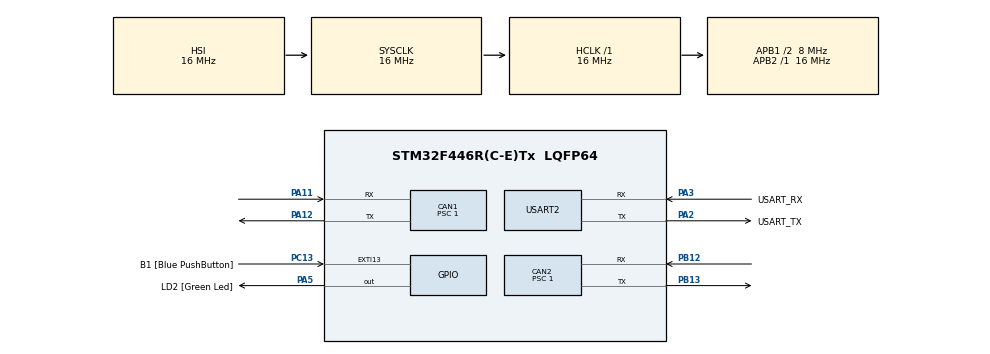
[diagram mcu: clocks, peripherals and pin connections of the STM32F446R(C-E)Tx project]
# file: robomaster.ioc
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CAN1.BS1=CAN_BS1_5TQ
CAN1.BS2=CAN_BS2_2TQ
CAN1.CalculateBaudRate=1000000
CAN1.CalculateTimeBit=1000
CAN1.CalculateTimeQuantum=125.0
CAN1.Prescaler=1
CAN1.TTCM=DISABLE
CAN2.BS1=CAN_BS1_5TQ
CAN2.BS2=CAN_BS2_2TQ
CAN2.CalculateBaudRate=1000000
CAN2.CalculateTimeBit=1000
CAN2.CalculateTimeQuantum=125.0
CAN2.Prescaler=1
Mcu.Family=STM32F4
Mcu.Name=STM32F446R(C-E)Tx
Mcu.Package=LQFP64
NVIC.CAN1_RX0_IRQn=true\:0\:0\:false\:false\:true\:true\:true\:true
NVIC.CAN1_RX1_IRQn=true\:0\:0\:false\:false\:true\:true\:true\:true
NVIC.CAN2_RX0_IRQn=true\:0\:0\:false\:false\:true\:true\:true\:true
NVIC.PriorityGroup=NVIC_PRIORITYGROUP_0
NVIC.USART2_IRQn=true\:0\:0\:false\:false\:true\:true\:true\:true
PA11.Mode=CAN_Activate
PA11.Signal=CAN1_RX
PA12.Mode=CAN_Activate
PA12.Signal=CAN1_TX
PA13.GPIO_Label=TMS
PA13.Mode=Serial_Wire
PA13.Signal=SYS_JTMS-SWDIO
PA14.GPIO_Label=TCK
PA14.Mode=Serial_Wire
PA14.Signal=SYS_JTCK-SWCLK
PA2.GPIO_Label=USART_TX
PA2.Mode=Asynchronous
PA2.Signal=USART2_TX
PA3.GPIO_Label=USART_RX
PA3.Mode=Asynchronous
PA3.Signal=USART2_RX
PA5.GPIO_Label=LD2 [Green Led]
PA5.Signal=GPIO_Output
PB12.Mode=CAN_Activate
PB12.Signal=CAN2_RX
PB13.Mode=CAN_Activate
PB13.Signal=CAN2_TX
PB3.GPIO_Label=SWO
PB3.Signal=SYS_JTDO-SWO
PC13.GPIO_Label=B1 [Blue PushButton]
PC13.GPIO_ModeDefaultEXTI=GPIO_MODE_IT_FALLING
PC13.Signal=GPXTI13
PC14-OSC32_IN.Mode=LSE-External-Oscillator
PC14-OSC32_IN.Signal=RCC_OSC32_IN
PC15-OSC32_OUT.Mode=LSE-External-Oscillator
PC15-OSC32_OUT.Signal=RCC_OSC32_OUT
PH0-OSC_IN.Mode=HSE-External-Oscillator
PH0-OSC_IN.Signal=RCC_OSC_IN
PH1-OSC_OUT.Mode=HSE-External-Oscillator
PH1-OSC_OUT.Signal=RCC_OSC_OUT
ProjectManager.HeapSize=0x200
ProjectManager.StackSize=0x400
ProjectManager.TargetToolchain=STM32CubeIDE
RCC.48MHZClocksFreq_Value=84000000
RCC.AHBFreq_Value=16000000
RCC.APB1CLKDivider=RCC_HCLK_DIV2
RCC.APB1Freq_Value=8000000
RCC.APB1TimFreq_Value=16000000
RCC.APB2Freq_Value=16000000
RCC.APB2TimFreq_Value=16000000
RCC.CortexFreq_Value=16000000
RCC.FLatency-AdvancedSettings=FLASH_LATENCY_0
RCC.HCLKFreq_Value=16000000
RCC.HSE_VALUE=8000000
RCC.HSI_VALUE=16000000
RCC.PLLN=336
RCC.PLLP=RCC_PLLP_DIV4
RCC.SYSCLKFreq_VALUE=16000000
RCC.USBFreq_Value=168000000
RCC.VCOOutputFreq_Value=336000000
USART2.VirtualMode=VM_ASYNC
board=NUCLEO-F446RE

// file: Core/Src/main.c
/* USER CODE BEGIN Header */
/**
  ******************************************************************************
  * @file           : main.c
  * @brief          : Main program body
  ******************************************************************************
  * @attention
  *
  * Copyright (c) 2026 STMicroelectronics.
  * All rights reserved.
  *
  * This software is licensed under terms that can be found in the LICENSE file
  * in the root directory of this software component.
  * If no LICENSE file comes with this software, it is provided AS-IS.
  *
  ******************************************************************************
  */
/* USER CODE END Header */
#include "main.h"

/* USER CODE BEGIN Includes */
#include <stdio.h>
#include <math.h>
#include <stdlib.h>
/* USER CODE END Includes */

/* USER CODE BEGIN PTD */
typedef struct {
    uint16_t angle;       // 0 to 8191
    int16_t  rpm;         // Actual RPM
    int16_t  current;     // Raw current value (-16384 to 16384)
    int8_t   temperature; // Degree Celsius
} RobomasMotor_t;
/* USER CODE END PTD */

/* USER CODE BEGIN PD */
#define DEADZONE 10
#define RADIUS   0.5  // Define appropriate values
#define MAX_VEL  10000
#define KP_GAIN  0.9f
#define KI_GAIN  0.1f
#define INTEGRAL_LIMIT 10000
/* USER CODE END PD */

CAN_HandleTypeDef hcan1;
CAN_HandleTypeDef hcan2;

UART_HandleTypeDef huart2;

/* USER CODE BEGIN PV */
static const float DIR_COS[8] = {
    1.0f,        0.70710678f,  0.0f,       -0.70710678f,
   -1.0f,       -0.70710678f,  0.0f,        0.70710678f
};

static const float DIR_SIN[8] = {
    0.0f,        0.70710678f,  1.0f,        0.70710678f,
    0.0f,       -0.70710678f, -1.0f,       -0.70710678f
};

enum {
    CH_FR = 0,
    CH_FL,
    CH_BR,
    CH_BL
};

int16_t currentPower[4] = {0,0,0,0};
uint8_t joystick[3] = {64, 64, 64}; //X,Y
int32_t errorIntegral[4] = {0, 0, 0, 0};
int pre_transmit = 0;
int pre_loop = 0;

RobomasMotor_t motors[4];

uint8_t canRxFlag = 0;

/* USER CODE END PV */

void SystemClock_Config(void);
static void MX_GPIO_Init(void);
static void MX_USART2_UART_Init(void);
static void MX_CAN1_Init(void);
static void MX_CAN2_Init(void);

/* USER CODE BEGIN 0 */

// CAN RX FIFO0 interrupt callback
void HAL_CAN_RxFifo0MsgPendingCallback(CAN_HandleTypeDef *hcan) {
    CAN_RxHeaderTypeDef RxHeader;
    uint8_t RxData[8];
    if (HAL_CAN_GetRxMessage(hcan, CAN_RX_FIFO0, &RxHeader, RxData) == HAL_OK) {
        if (RxHeader.IDE == CAN_ID_STD) {
            uint32_t rxId = RxHeader.StdId;

            // CAN1: Command reception from master controller
            if (hcan->Instance == CAN1) {
                for (int i = 0; i < 3; i++) {
                    joystick[i] = RxData[i];
                }
                canRxFlag = 1;
            }
            // CAN2: Feedback reception from RoboMaster ESCs
            else if (hcan->Instance == CAN2) {
                // ESC feedback IDs range from 0x201 to 0x204
                if (rxId >= 0x201 && rxId <= 0x204) {
                    int idx = rxId - 0x201;

                    motors[idx].angle       = (uint16_t)(RxData[0]) << 8 | (uint16_t)(RxData[1]);
                    motors[idx].rpm         = (int16_t)(RxData[2]) << 8 | (int16_t)(RxData[3]);
                    motors[idx].current     = (int16_t)(RxData[4]) << 8 | (int16_t)(RxData[5]);
                    motors[idx].temperature = (int8_t)  RxData[6];
                    HAL_GPIO_TogglePin(GPIOA, GPIO_PIN_5);
                    canRxFlag = 1;
                }
            }
        }
    }
}

int transmit_robomas(int16_t speed[4]){
    CAN_TxHeaderTypeDef TxHeader;
    uint32_t TxMailbox;
    uint8_t TxData[8];

    if( 0 < HAL_CAN_GetTxMailboxesFreeLevel(&hcan2) && HAL_GetTick() - pre_transmit >= 10 ){

        TxHeader.StdId = 0x200;
        TxHeader.RTR = CAN_RTR_DATA;
        TxHeader.IDE = CAN_ID_STD;
        TxHeader.DLC = 8;
        TxHeader.TransmitGlobalTime = DISABLE;

        for (int i = 0; i < 4; i++) {
            // Output limiter (-8000 to 8000)
            if (speed[i] > 8000)  speed[i] = 8000;
            if (speed[i] < -8000) speed[i] = -8000;

            TxData[i * 2]     = (uint8_t)(speed[i] >> 8);
            TxData[i * 2 + 1] = (uint8_t)(speed[i] & 0xFF);
        }
        pre_transmit = HAL_GetTick();

        if(HAL_CAN_AddTxMessage(&hcan2, &TxHeader, TxData, &TxMailbox) != HAL_OK){
        	return -1;
        }
    }
    return 0;
}

// Convert Cartesian coordinates to Polar coordinates
void Cartesian_To_Polar(int16_t X, int16_t Y, float *radian, float *distance){
	*radian = atan2f((float)Y, (float)X);
	*distance = sqrtf((float)(X * X + Y * Y));
	  static char buff[256];
	  int size = snprintf(buff, sizeof(buff), "radian: %5.2f distance: %5.2f joyX:%4d joyY:%4d Speed:%4d %4d %4d %4d RecieveCurrent: %4d %4d %4d %4d \n\r" ,*radian, *distance,joystick[0],joystick[1],currentPower[0],currentPower[1],currentPower[2],currentPower[3],motors[0].current,motors[1].current, motors[2].current,motors[3].current);
	  HAL_UART_Transmit_IT(&huart2, (uint8_t*)buff, size);
	return;
}

// Chassis kinematics and motor output calculation
void CalculateSpeed(uint8_t JoyX, uint8_t JoyY, uint8_t JoyX2) {
    // 1. Normalize stick input
    int16_t vx = (int16_t)JoyX - 64;
    int16_t vy = -((int16_t)JoyY - 64);
    int16_t w  = (int16_t)JoyX2 - 64;

    // Deadzone check
    if (abs(vx) < DEADZONE) vx = 0;
    if (abs(vy) < DEADZONE) vy = 0;
    if (abs(w)  < DEADZONE) w = 0;

    // 8-direction snap calculation
    float radian = 0.0f;
    float distance = 0.0f;
    Cartesian_To_Polar(vx, vy, &radian, &distance);
    if(radian < 0.0f){
    	radian += 2.0f * M_PI;
    }
    radian += (float)M_PI / 8.0f;
    int sector = (int)((radian) / ((float)M_PI / 4.0f)) % 8;

    vx = (int16_t)(DIR_COS[sector] * distance);
    vy = (int16_t)(DIR_SIN[sector] * distance);

    // 2. Kinematics calculation
    int32_t targetVels[4];
    targetVels[CH_FR] = (int32_t)((( vy + vx + (w * RADIUS )) / 64.0f) * MAX_VEL);
    targetVels[CH_FL] = (int32_t)(((-vy + vx + (w * RADIUS )) / 64.0f) * MAX_VEL);
    targetVels[CH_BR] = (int32_t)((( vy - vx + (w * RADIUS )) / 64.0f) * MAX_VEL);
    targetVels[CH_BL] = (int32_t)(((-vy - vx + (w * RADIUS )) / 64.0f) * MAX_VEL);

    // 3. Proportional scaling to prevent exceeding MAX_VEL
    int32_t maxTarget = 0;
    for (int i = 0; i < 4; i++) {
        int32_t absVal = labs(targetVels[i]);
        if (absVal > maxTarget) maxTarget = absVal;
    }

    if (maxTarget > MAX_VEL) {
        for (int i = 0; i < 4; i++) {
            targetVels[i] = targetVels[i] * MAX_VEL / maxTarget;
        }
    }

    // 4. PI control loop calculation using actual torque current feedback
    for (int i = 0; i < 4; i++) {
    	int diff = targetVels[i] - motors[i].current;
    	int16_t p_term = (int16_t)(diff * KP_GAIN);

    	/* Reset integral term when target value is zero */
    	if (targetVels[i] == 0) {
    	    errorIntegral[i] = 0;
    	} else {
    	    /* Accumulate error only when moving */
    	    errorIntegral[i] += diff;
    	}

    	if (errorIntegral[i] > INTEGRAL_LIMIT) {
    	    errorIntegral[i] = INTEGRAL_LIMIT;
    	} else if (errorIntegral[i] < -INTEGRAL_LIMIT) {
    	    errorIntegral[i] = -INTEGRAL_LIMIT;
    	}

    	int16_t i_term = (int16_t)(errorIntegral[i] * KI_GAIN);

    	currentPower[i] = p_term + i_term;
    }
}
/* USER CODE END 0 */

int main(void)
{

  /* MCU Configuration--------------------------------------------------------*/

  /* Reset of all peripherals, Initializes the Flash interface and the Systick. */
  HAL_Init();

  /* Configure the system clock */
  SystemClock_Config();

  /* Initialize all configured peripherals */
  MX_GPIO_Init();
  MX_USART2_UART_Init();
  MX_CAN1_Init();
  MX_CAN2_Init();
  /* USER CODE BEGIN 2 */
  HAL_CAN_Start(&hcan1);
  HAL_CAN_ActivateNotification(&hcan1, CAN_IT_RX_FIFO0_MSG_PENDING);
  HAL_CAN_Start(&hcan2);
  HAL_CAN_ActivateNotification(&hcan2, CAN_IT_RX_FIFO0_MSG_PENDING);
  /* USER CODE END 2 */

  /* Infinite loop */
  /* USER CODE BEGIN WHILE */
  while (1)
  {
	  if(HAL_GetTick() - pre_loop > 20){
		  CalculateSpeed(joystick[0],joystick[1],joystick[2]);
		  transmit_robomas(currentPower);

		  pre_loop = HAL_GetTick();
	  }

	  if(canRxFlag){
		  canRxFlag = 0;
	  }
    /* USER CODE END WHILE */

  }
}

void SystemClock_Config(void)
{
  RCC_OscInitTypeDef RCC_OscInitStruct = {0};
  RCC_ClkInitTypeDef RCC_ClkInitStruct = {0};

  /** Configure the main internal regulator output voltage
  */
  __HAL_RCC_PWR_CLK_ENABLE();
  __HAL_PWR_VOLTAGESCALING_CONFIG(PWR_REGULATOR_VOLTAGE_SCALE3);

  /** Initializes the RCC Oscillators according to the specified parameters
  * in the RCC_OscInitTypeDef structure.
  */
  RCC_OscInitStruct.OscillatorType = RCC_OSCILLATORTYPE_HSI;
  RCC_OscInitStruct.HSIState = RCC_HSI_ON;
  RCC_OscInitStruct.HSICalibrationValue = RCC_HSICALIBRATION_DEFAULT;
  RCC_OscInitStruct.PLL.PLLState = RCC_PLL_NONE;
  if (HAL_RCC_OscConfig(&RCC_OscInitStruct) != HAL_OK)
  {
    Error_Handler();
  }

  /** Initializes the CPU, AHB and APB buses clocks
  */
  RCC_ClkInitStruct.ClockType = RCC_CLOCKTYPE_HCLK|RCC_CLOCKTYPE_SYSCLK
                              |RCC_CLOCKTYPE_PCLK1|RCC_CLOCKTYPE_PCLK2;
  RCC_ClkInitStruct.SYSCLKSource = RCC_SYSCLKSOURCE_HSI;
  RCC_ClkInitStruct.AHBCLKDivider = RCC_SYSCLK_DIV1;
  RCC_ClkInitStruct.APB1CLKDivider = RCC_HCLK_DIV2;
  RCC_ClkInitStruct.APB2CLKDivider = RCC_HCLK_DIV1;

  if (HAL_RCC_ClockConfig(&RCC_ClkInitStruct, FLASH_LATENCY_0) != HAL_OK)
  {
    Error_Handler();
  }
}

static void MX_CAN1_Init(void)
{

  hcan1.Instance = CAN1;
  hcan1.Init.Prescaler = 1;
  hcan1.Init.Mode = CAN_MODE_NORMAL;
  hcan1.Init.SyncJumpWidth = CAN_SJW_1TQ;
  hcan1.Init.TimeSeg1 = CAN_BS1_5TQ;
  hcan1.Init.TimeSeg2 = CAN_BS2_2TQ;
  hcan1.Init.TimeTriggeredMode = DISABLE;
  hcan1.Init.AutoBusOff = DISABLE;
  hcan1.Init.AutoWakeUp = DISABLE;
  hcan1.Init.AutoRetransmission = DISABLE;
  hcan1.Init.ReceiveFifoLocked = DISABLE;
  hcan1.Init.TransmitFifoPriority = DISABLE;
  if (HAL_CAN_Init(&hcan1) != HAL_OK)
  {
    Error_Handler();
  }
  /* USER CODE BEGIN CAN1_Init 2 */
  CAN_FilterTypeDef filter;
  filter.FilterIdHigh           = 0x100 << 5;               // Filter ID high 16-bit
  filter.FilterIdLow            = 0;                        // Filter ID low 16-bit
  filter.FilterMaskIdHigh       = 0x7FF << 5;               // Filter mask high 16-bit
  filter.FilterMaskIdLow        = 0;                        // Filter mask low 16-bit
  filter.FilterScale            = CAN_FILTERSCALE_32BIT;    // 32-bit filter mode
  filter.FilterFIFOAssignment   = CAN_FILTER_FIFO0;         // Assign to FIFO0
  filter.FilterBank	            = 0;
  filter.FilterMode             = CAN_FILTERMODE_IDMASK;    // Identifier mask mode
  filter.SlaveStartFilterBank   = 14;
  filter.FilterActivation       = ENABLE;

  HAL_CAN_ConfigFilter(&hcan1, &filter);

  /* USER CODE END CAN1_Init 2 */

}

static void MX_CAN2_Init(void)
{

  hcan2.Instance = CAN2;
  hcan2.Init.Prescaler = 1;
  hcan2.Init.Mode = CAN_MODE_NORMAL;
  hcan2.Init.SyncJumpWidth = CAN_SJW_1TQ;
  hcan2.Init.TimeSeg1 = CAN_BS1_5TQ;
  hcan2.Init.TimeSeg2 = CAN_BS2_2TQ;
  hcan2.Init.TimeTriggeredMode = DISABLE;
  hcan2.Init.AutoBusOff = DISABLE;
  hcan2.Init.AutoWakeUp = DISABLE;
  hcan2.Init.AutoRetransmission = DISABLE;
  hcan2.Init.ReceiveFifoLocked = DISABLE;
  hcan2.Init.TransmitFifoPriority = DISABLE;
  if (HAL_CAN_Init(&hcan2) != HAL_OK)
  {
    Error_Handler();
  }
  /* USER CODE BEGIN CAN2_Init 2 */
  CAN_FilterTypeDef filter;
  filter.FilterIdHigh           = 0x200 << 5;               // Filter ID high 16-bit
  filter.FilterIdLow            = 0;                        // Filter ID low 16-bit
  filter.FilterMaskIdHigh       = 0x700 << 5;               // Filter mask high 16-bit
  filter.FilterMaskIdLow        = 0;                        // Filter mask low 16-bit
  filter.FilterScale            = CAN_FILTERSCALE_32BIT;    // 32-bit filter mode
  filter.FilterFIFOAssignment   = CAN_FILTER_FIFO0;         // Assign to FIFO0
  filter.FilterBank	            = 14;
  filter.FilterMode             = CAN_FILTERMODE_IDMASK;    // Identifier mask mode
  filter.SlaveStartFilterBank   = 14;
  filter.FilterActivation       = ENABLE;

  HAL_CAN_ConfigFilter(&hcan2, &filter);
  /* USER CODE END CAN2_Init 2 */

}

static void MX_USART2_UART_Init(void)
{

  huart2.Instance = USART2;
  huart2.Init.BaudRate = 115200;
  huart2.Init.WordLength = UART_WORDLENGTH_8B;
  huart2.Init.StopBits = UART_STOPBITS_1;
  huart2.Init.Parity = UART_PARITY_NONE;
  huart2.Init.Mode = UART_MODE_TX_RX;
  huart2.Init.HwFlowCtl = UART_HWCONTROL_NONE;
  huart2.Init.OverSampling = UART_OVERSAMPLING_16;
  if (HAL_UART_Init(&huart2) != HAL_OK)
  {
    Error_Handler();
  }

}

static void MX_GPIO_Init(void)
{
  GPIO_InitTypeDef GPIO_InitStruct = {0};

  /* GPIO Ports Clock Enable */
  __HAL_RCC_GPIOC_CLK_ENABLE();
  __HAL_RCC_GPIOH_CLK_ENABLE();
  __HAL_RCC_GPIOA_CLK_ENABLE();
  __HAL_RCC_GPIOB_CLK_ENABLE();

  /*Configure GPIO pin Output Level */
  HAL_GPIO_WritePin(LD2_GPIO_Port, LD2_Pin, GPIO_PIN_RESET);

  /*Configure GPIO pin : B1_Pin */
  GPIO_InitStruct.Pin = B1_Pin;
  GPIO_InitStruct.Mode = GPIO_MODE_IT_FALLING;
  GPIO_InitStruct.Pull = GPIO_NOPULL;
  HAL_GPIO_Init(B1_GPIO_Port, &GPIO_InitStruct);

  /*Configure GPIO pin : LD2_Pin */
  GPIO_InitStruct.Pin = LD2_Pin;
  GPIO_InitStruct.Mode = GPIO_MODE_OUTPUT_PP;
  GPIO_InitStruct.Pull = GPIO_NOPULL;
  GPIO_InitStruct.Speed = GPIO_SPEED_FREQ_LOW;
  HAL_GPIO_Init(LD2_GPIO_Port, &GPIO_InitStruct);

}

void Error_Handler(void)
{
  __disable_irq();
  while (1)
  {
  }
}
